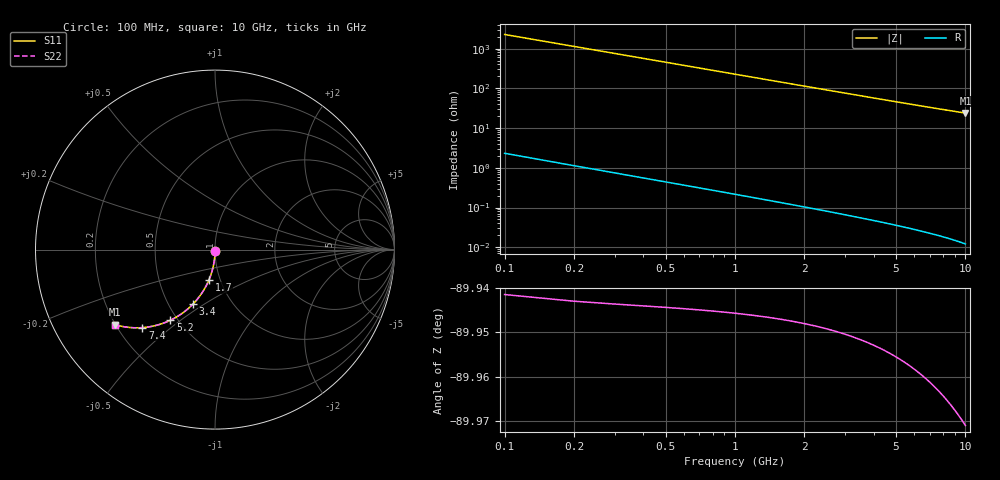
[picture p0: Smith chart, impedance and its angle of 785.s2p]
# Hz S RI R 50.00
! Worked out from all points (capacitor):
!   100 points, 100 MHz to 10 GHz, reference 50 ohm
!   read as one part in shunt: C = 701 fF near 100 MHz
!   lowest |Z| = 23.9 ohm at 10 GHz (marker M1)
!   S11 on the Smith chart (normalised r, x): 100 MHz: 1.00, -0.02; 1.7 GHz: 0.89, -0.31; 3.4 GHz: 0.66, -0.45; 5.2 GHz: 0.46, -0.46; 7.4 GHz: 0.30, -0.40; 10 GHz: 0.20, -0.32
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1e8  0.000336 -0.0103  0.9994 -0.0118  0.9994 -0.0118  0.000336 -0.0103
2e8  -3.39e-05 -0.0205  0.999 -0.0235  0.999 -0.0235  -3.39e-05 -0.0205
3e8  -0.000645 -0.0308  0.9984 -0.0353  0.9984 -0.0353  -0.000645 -0.0308
4e8  -0.0015 -0.041  0.9975 -0.047  0.9975 -0.047  -0.0015 -0.041
5e8  -0.00259 -0.0512  0.9964 -0.0587  0.9964 -0.0587  -0.00259 -0.0512
6e8  -0.00392 -0.0613  0.9951 -0.0703  0.9951 -0.0703  -0.00392 -0.0613
8e8  -0.00728 -0.0814  0.9917 -0.0934  0.9917 -0.0934  -0.00728 -0.0814
1.1e9  -0.014 -0.1112  0.9849 -0.1277  0.9849 -0.1277  -0.014 -0.1112
1.4e9  -0.0228 -0.1402  0.976 -0.1612  0.976 -0.1612  -0.0228 -0.1402
1.7e9  -0.0335 -0.1683  0.9652 -0.1938  0.9652 -0.1938  -0.0335 -0.1683
1.8e9  -0.0374 -0.1774  0.9612 -0.2044  0.9612 -0.2044  -0.0374 -0.1774
2.1e9  -0.0504 -0.204  0.9481 -0.2356  0.9481 -0.2356  -0.0504 -0.204
2.5e9  -0.0702 -0.2376  0.9281 -0.2751  0.9281 -0.2751  -0.0702 -0.2376
2.9e9  -0.0924 -0.2686  0.9056 -0.3122  0.9056 -0.3122  -0.0924 -0.2686
3.4e9  -0.123 -0.3037  0.8746 -0.3549  0.8746 -0.3549  -0.123 -0.3037
4.2e9  -0.1769 -0.3507  0.82 -0.414  0.82 -0.414  -0.1769 -0.3507
5.1e9  -0.2416 -0.3902  0.7544 -0.4672  0.7544 -0.4672  -0.2416 -0.3902
5.2e9  -0.2488 -0.3937  0.747 -0.4723  0.747 -0.4723  -0.2488 -0.3937
6.7e9  -0.3569 -0.4286  0.6368 -0.5303  0.6368 -0.5303  -0.3569 -0.4286
7.4e9  -0.4048 -0.4346  0.5878 -0.5473  0.5878 -0.5473  -0.4048 -0.4346
8.4e9  -0.4687 -0.4345  0.5219 -0.563  0.5219 -0.563  -0.4687 -0.4345
1e10  -0.5584 -0.418  0.4285 -0.5723  0.4285 -0.5723  -0.5584 -0.418
